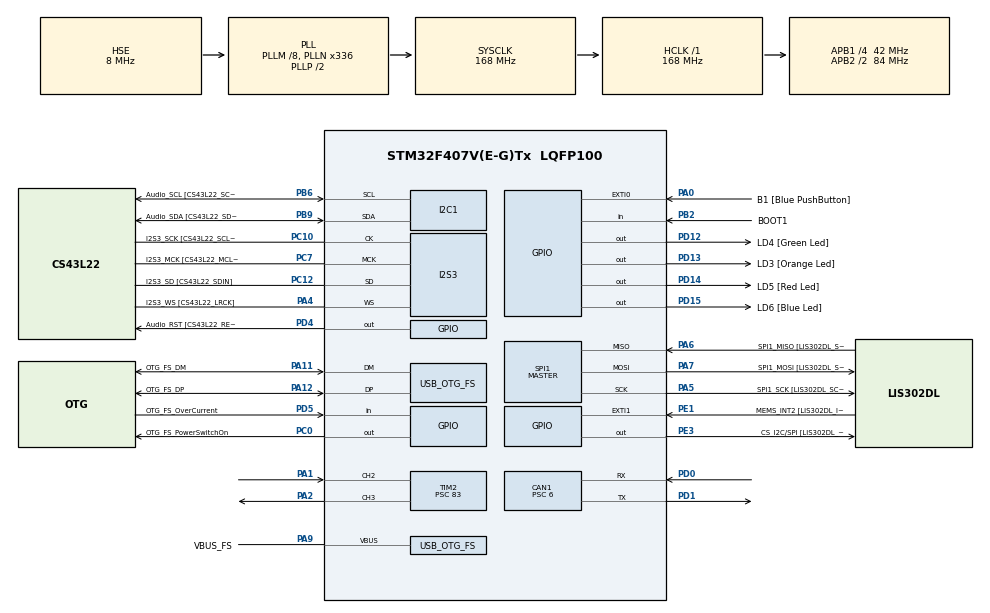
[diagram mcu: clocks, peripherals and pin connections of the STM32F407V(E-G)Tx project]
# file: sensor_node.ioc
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CAN1.BS1=CAN_BS1_11TQ
CAN1.BS2=CAN_BS2_2TQ
CAN1.CalculateBaudRate=500000
CAN1.CalculateTimeBit=2000
CAN1.CalculateTimeQuantum=142.85714285714286
CAN1.Mode=CAN_MODE_NORMAL
CAN1.NART=ENABLE
CAN1.Prescaler=6
I2S3.AudioFreq-Half_Duplex_Master=I2S_AUDIOFREQ_96K
I2S3.ErrorAudioFreq=-2.34 %
I2S3.ErrorAudioFreq-Half_Duplex_Master=0.8 %
I2S3.FullDuplexMode=I2S_FULLDUPLEXMODE_DISABLE
I2S3.Instance=SPI$Index
I2S3.RealAudioFreq=93.75 KHz
I2S3.RealAudioFreq-Half_Duplex_Master=96.774 KHz
I2S3.VirtualMode=I2S_MODE_MASTER
Mcu.Family=STM32F4
Mcu.Name=STM32F407V(E-G)Tx
Mcu.Package=LQFP100
NVIC.CAN1_RX0_IRQn=true\:0\:0\:false\:false\:true\:true\:true\:true
NVIC.OTG_FS_IRQn=true\:0\:0\:false\:false\:true\:true\:true\:true
NVIC.PriorityGroup=NVIC_PRIORITYGROUP_0
NVIC.TIM2_IRQn=true\:0\:0\:false\:false\:true\:true\:true\:true
PA0-WKUP.GPIO_Label=B1 [Blue PushButton]
PA0-WKUP.GPIO_ModeDefaultEXTI=GPIO_MODE_EVT_RISING
PA0-WKUP.GPIO_PuPd=GPIO_NOPULL
PA0-WKUP.Signal=GPXTI0
PA1.Signal=S_TIM2_CH2
PA10.GPIO_Label=OTG_FS_ID
PA10.GPIO_Mode=GPIO_MODE_AF_PP
PA10.GPIO_PuPd=GPIO_NOPULL
PA10.GPIO_Speed=GPIO_SPEED_FREQ_LOW
PA10.Signal=USB_OTG_FS_ID
PA11.GPIO_Label=OTG_FS_DM
PA11.GPIO_Mode=GPIO_MODE_AF_PP
PA11.GPIO_PuPd=GPIO_NOPULL
PA11.GPIO_Speed=GPIO_SPEED_FREQ_LOW
PA11.Mode=Host_Only
PA11.Signal=USB_OTG_FS_DM
PA12.GPIO_Label=OTG_FS_DP
PA12.GPIO_Mode=GPIO_MODE_AF_PP
PA12.GPIO_PuPd=GPIO_NOPULL
PA12.GPIO_Speed=GPIO_SPEED_FREQ_LOW
PA12.Mode=Host_Only
PA12.Signal=USB_OTG_FS_DP
PA13.GPIO_Label=SWDIO
PA13.Mode=Trace_Asynchronous_SW
PA13.Signal=SYS_JTMS-SWDIO
PA14.GPIO_Label=SWCLK
PA14.Mode=Trace_Asynchronous_SW
PA14.Signal=SYS_JTCK-SWCLK
PA2.Signal=S_TIM2_CH3
PA4.GPIO_Label=I2S3_WS [CS43L22_LRCK]
PA4.GPIO_Mode=GPIO_MODE_AF_PP
PA4.GPIO_PuPd=GPIO_NOPULL
PA4.GPIO_Speed=GPIO_SPEED_FREQ_LOW
PA4.Mode=Half_Duplex_Master
PA4.Signal=I2S3_WS
PA5.GPIO_Label=SPI1_SCK [LIS302DL_SCL/SPC]
PA5.GPIO_Mode=GPIO_MODE_AF_PP
PA5.GPIO_PuPd=GPIO_NOPULL
PA5.GPIO_Speed=GPIO_SPEED_FREQ_LOW
PA5.Mode=Full_Duplex_Master
PA5.Signal=SPI1_SCK
PA6.GPIO_Label=SPI1_MISO [LIS302DL_SDO]
PA6.GPIO_Mode=GPIO_MODE_AF_PP
PA6.GPIO_PuPd=GPIO_NOPULL
PA6.GPIO_Speed=GPIO_SPEED_FREQ_LOW
PA6.Mode=Full_Duplex_Master
PA6.Signal=SPI1_MISO
PA7.GPIO_Label=SPI1_MOSI [LIS302DL_SDA/SDI/SDO]
PA7.GPIO_Mode=GPIO_MODE_AF_PP
PA7.GPIO_PuPd=GPIO_NOPULL
PA7.GPIO_Speed=GPIO_SPEED_FREQ_LOW
PA7.Mode=Full_Duplex_Master
PA7.Signal=SPI1_MOSI
PA9.GPIO_Label=VBUS_FS
PA9.GPIO_Mode=GPIO_MODE_INPUT
PA9.GPIO_PuPd=GPIO_NOPULL
PA9.Mode=Activate_VBUS
PA9.Signal=USB_OTG_FS_VBUS
PB10.GPIO_Label=CLK_IN [MP45DT02_CLK]
PB10.GPIO_Mode=GPIO_MODE_AF_PP
PB10.GPIO_PuPd=GPIO_NOPULL
PB10.GPIO_Speed=GPIO_SPEED_FREQ_LOW
PB10.Signal=I2S2_CK
PB2.GPIO_Label=BOOT1
PB2.GPIO_Mode=GPIO_MODE_INPUT
PB2.GPIO_PuPd=GPIO_NOPULL
PB2.Signal=GPIO_Input
PB3.GPIO_Label=SWO
PB3.Mode=Trace_Asynchronous_SW
PB3.Signal=SYS_JTDO-SWO
PB6.GPIO_Label=Audio_SCL [CS43L22_SCL]
PB6.GPIO_Mode=GPIO_MODE_AF_OD
PB6.GPIO_Pu=GPIO_PULLUP
PB6.GPIO_PuPd=GPIO_NOPULL
PB6.GPIO_Speed=GPIO_SPEED_FREQ_LOW
PB6.Mode=I2C
PB6.Signal=I2C1_SCL
PB9.GPIO_Label=Audio_SDA [CS43L22_SDA]
PB9.GPIO_Mode=GPIO_MODE_AF_OD
PB9.GPIO_Pu=GPIO_PULLUP
PB9.GPIO_PuPd=GPIO_NOPULL
PB9.GPIO_Speed=GPIO_SPEED_FREQ_LOW
PB9.Mode=I2C
PB9.Signal=I2C1_SDA
PC0.GPIO_Label=OTG_FS_PowerSwitchOn
PC0.GPIO_PuPd=GPIO_NOPULL
PC0.GPIO_Speed=GPIO_SPEED_FREQ_LOW
PC0.PinState=GPIO_PIN_SET
PC0.Signal=GPIO_Output
PC10.GPIO_Label=I2S3_SCK [CS43L22_SCLK]
PC10.GPIO_Mode=GPIO_MODE_AF_PP
PC10.GPIO_PuPd=GPIO_NOPULL
PC10.GPIO_Speed=GPIO_SPEED_FREQ_LOW
PC10.Mode=Half_Duplex_Master
PC10.Signal=I2S3_CK
PC12.GPIO_Label=I2S3_SD [CS43L22_SDIN]
PC12.GPIO_Mode=GPIO_MODE_AF_PP
PC12.GPIO_PuPd=GPIO_NOPULL
PC12.GPIO_Speed=GPIO_SPEED_FREQ_LOW
PC12.Mode=Half_Duplex_Master
PC12.Signal=I2S3_SD
PC14-OSC32_IN.GPIO_Label=PC14-OSC32_IN
PC14-OSC32_IN.Mode=LSE-External-Oscillator
PC14-OSC32_IN.Signal=RCC_OSC32_IN
PC15-OSC32_OUT.GPIO_Label=PC15-OSC32_OUT
PC15-OSC32_OUT.Mode=LSE-External-Oscillator
PC15-OSC32_OUT.Signal=RCC_OSC32_OUT
PC3.GPIO_Label=PDM_OUT [MP45DT02_DOUT]
PC3.GPIO_Mode=GPIO_MODE_AF_PP
PC3.GPIO_PuPd=GPIO_NOPULL
PC3.GPIO_Speed=GPIO_SPEED_FREQ_LOW
PC3.Signal=I2S2_SD
PC7.GPIO_Label=I2S3_MCK [CS43L22_MCLK]
PC7.GPIO_Mode=GPIO_MODE_AF_PP
PC7.GPIO_PuPd=GPIO_NOPULL
PC7.GPIO_Speed=GPIO_SPEED_FREQ_LOW
PC7.Mode=Master_Clock_Activated
PC7.Signal=I2S3_MCK
PD0.GPIO_PuPd=GPIO_PULLUP
PD0.Mode=CAN_Activate
PD0.Signal=CAN1_RX
PD1.Mode=CAN_Activate
PD1.Signal=CAN1_TX
PD12.GPIO_Label=LD4 [Green Led]
PD12.GPIO_PuPd=GPIO_NOPULL
PD12.GPIO_Speed=GPIO_SPEED_FREQ_LOW
PD12.Signal=GPIO_Output
PD13.GPIO_Label=LD3 [Orange Led]
PD13.GPIO_PuPd=GPIO_NOPULL
PD13.GPIO_Speed=GPIO_SPEED_FREQ_LOW
PD13.Signal=GPIO_Output
PD14.GPIO_Label=LD5 [Red Led]
PD14.GPIO_PuPd=GPIO_NOPULL
PD14.GPIO_Speed=GPIO_SPEED_FREQ_LOW
PD14.Signal=GPIO_Output
PD15.GPIO_Label=LD6 [Blue Led]
PD15.GPIO_PuPd=GPIO_NOPULL
PD15.GPIO_Speed=GPIO_SPEED_FREQ_LOW
PD15.Signal=GPIO_Output
PD4.GPIO_Label=Audio_RST [CS43L22_RESET]
PD4.GPIO_PuPd=GPIO_NOPULL
PD4.GPIO_Speed=GPIO_SPEED_FREQ_LOW
PD4.Signal=GPIO_Output
PD5.GPIO_Label=OTG_FS_OverCurrent
PD5.GPIO_Mode=GPIO_MODE_INPUT
PD5.GPIO_PuPd=GPIO_NOPULL
PD5.Signal=GPIO_Input
PE1.GPIO_Label=MEMS_INT2 [LIS302DL_INT2]
PE1.GPIO_ModeDefaultEXTI=GPIO_MODE_EVT_RISING
PE1.GPIO_PuPd=GPIO_NOPULL
PE1.Signal=GPXTI1
PE3.GPIO_Label=CS_I2C/SPI [LIS302DL_CS_I2C/SPI]
PE3.GPIO_PuPd=GPIO_NOPULL
PE3.GPIO_Speed=GPIO_SPEED_FREQ_LOW
PE3.Signal=GPIO_Output
PH0-OSC_IN.GPIO_Label=PH0-OSC_IN
PH0-OSC_IN.Mode=HSE-External-Oscillator
PH0-OSC_IN.Signal=RCC_OSC_IN
PH1-OSC_OUT.GPIO_Label=PH1-OSC_OUT
PH1-OSC_OUT.Mode=HSE-External-Oscillator
PH1-OSC_OUT.Signal=RCC_OSC_OUT
ProjectManager.HeapSize=0x200
ProjectManager.StackSize=0x400
ProjectManager.TargetToolchain=STM32CubeIDE
RCC.48MHZClocksFreq_Value=48000000
RCC.AHBFreq_Value=168000000
RCC.APB1CLKDivider=RCC_HCLK_DIV4
RCC.APB1Freq_Value=42000000
RCC.APB1TimFreq_Value=84000000
RCC.APB2CLKDivider=RCC_HCLK_DIV2
RCC.APB2Freq_Value=84000000
RCC.APB2TimFreq_Value=168000000
RCC.CortexFreq_Value=168000000
RCC.HCLKFreq_Value=168000000
RCC.HSE_VALUE=8000000
RCC.HSI_VALUE=16000000
RCC.PLLM=8
RCC.PLLN=336
RCC.PLLQ=7
RCC.SYSCLKFreq_VALUE=168000000
RCC.SYSCLKSource=RCC_SYSCLKSOURCE_PLLCLK
RCC.VCOOutputFreq_Value=336000000
SH.S_TIM2_CH2.0=TIM2_CH2,Input_Capture2_from_TI2
SH.S_TIM2_CH3.0=TIM2_CH3,PWM Generation3 CH3
SPI1.BaudRatePrescaler-Full_Duplex_Master=SPI_BAUDRATEPRESCALER_2
SPI1.CalculateBaudRate-Full_Duplex_Master=42.0 MBits/s
SPI1.Direction=SPI_DIRECTION_2LINES
SPI1.Mode=SPI_MODE_MASTER
SPI1.Mode-Full_Duplex_Master=SPI_MODE_MASTER
SPI1.VirtualType=VM_MASTER
TIM2.Channel-Input_Capture2_from_TI2=TIM_CHANNEL_2
TIM2.Channel-PWM\ Generation3\ CH3=TIM_CHANNEL_3
TIM2.ICPolarity_CH2=TIM_INPUTCHANNELPOLARITY_BOTHEDGE
TIM2.Period=59999
TIM2.Prescaler=83
TIM2.Pulse-PWM\ Generation3\ CH3=10
USB_HOST.BSP.number=1
USB_HOST.USBH_HandleTypeDef-CDC_FS=hUsbHostFS
USB_HOST.VirtualModeFS=Cdc
USB_HOST0.BSP.STBoard=false
USB_HOST0.BSP.api=Unknown
USB_HOST0.BSP.instance=PC0
USB_HOST0.BSP.ip=GPIO
USB_HOST0.BSP.mode=Output
USB_HOST0.BSP.name=Drive_VBUS_FS
USB_HOST0.BSP.solution=PC0
USB_OTG_FS.VirtualMode=Host_Only
USB_OTG_FS.phy_itface=HCD_PHY_EMBEDDED
VP_TIM2_VS_ClockSourceINT.Mode=Internal
VP_USB_HOST_VS_USB_HOST_CDC_FS.Mode=CDC_FS
board=STM32F407G-DISC1

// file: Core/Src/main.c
/* USER CODE BEGIN Header */
/**
  ******************************************************************************
  * @file           : main.c
  * @brief          : Main program body
  ******************************************************************************
  * @attention
  *
  * Copyright (c) 2026 STMicroelectronics.
  * All rights reserved.
  *
  * This software is licensed under terms that can be found in the LICENSE file
  * in the root directory of this software component.
  * If no LICENSE file comes with this software, it is provided AS-IS.
  *
  ******************************************************************************
  */
/* USER CODE END Header */
#include "main.h"
#include "usb_host.h"

/* USER CODE BEGIN Includes */
#include <stdio.h>
/* USER CODE END Includes */

/* USER CODE BEGIN PD */
#define CAN_ID_PA_DISTANCE   0x200
#define CAN_DLC_PA_DISTANCE  4
/* USER CODE END PD */

CAN_HandleTypeDef hcan1;

I2C_HandleTypeDef hi2c1;

I2S_HandleTypeDef hi2s3;

SPI_HandleTypeDef hspi1;

TIM_HandleTypeDef htim2;

/* USER CODE BEGIN PV */
CAN_TxHeaderTypeDef txHeader;
CAN_RxHeaderTypeDef rxHeader;
uint8_t  txData[8];
uint8_t  rxData[8];
uint32_t txMailbox;
volatile uint32_t rxCount = 0;
volatile uint32_t echoRise = 0;
volatile uint32_t echoWidthUs = 0;
volatile uint8_t  newMeasurement = 0;
uint8_t aliveCounter = 0;
volatile uint16_t rxDistMm = 0;
volatile uint8_t  rxStatus = 0;
volatile uint8_t  rxAlive = 0;
/* USER CODE END PV */

void SystemClock_Config(void);
static void MX_GPIO_Init(void);
static void MX_CAN1_Init(void);
static void MX_I2C1_Init(void);
static void MX_I2S3_Init(void);
static void MX_SPI1_Init(void);
static void MX_TIM2_Init(void);
void MX_USB_HOST_Process(void);

/* USER CODE BEGIN 0 */
int _write(int file, char *ptr, int len)
{
  for (int i = 0; i < len; i++)
  {
    ITM_SendChar(ptr[i]);
  }
  return len;
}
/* USER CODE END 0 */

int main(void)
{

  /* MCU Configuration--------------------------------------------------------*/

  /* Reset of all peripherals, Initializes the Flash interface and the Systick. */
  HAL_Init();

  /* Configure the system clock */
  SystemClock_Config();

  /* Initialize all configured peripherals */
  MX_GPIO_Init();
  MX_CAN1_Init();
  MX_I2C1_Init();
  MX_I2S3_Init();
  MX_SPI1_Init();
  MX_USB_HOST_Init();
  MX_TIM2_Init();
  /* USER CODE BEGIN 2 */
  CAN_FilterTypeDef filter = {0};
  filter.FilterBank = 0;
  filter.FilterMode = CAN_FILTERMODE_IDMASK;
  filter.FilterScale = CAN_FILTERSCALE_32BIT;
  filter.FilterFIFOAssignment = CAN_RX_FIFO0;   /* mask 0 = accept all IDs */
  filter.FilterActivation = ENABLE;
  filter.SlaveStartFilterBank = 14;

  if (HAL_CAN_ConfigFilter(&hcan1, &filter) != HAL_OK) Error_Handler();
  if (HAL_CAN_Start(&hcan1) != HAL_OK) Error_Handler();
  if (HAL_CAN_ActivateNotification(&hcan1, CAN_IT_RX_FIFO0_MSG_PENDING) != HAL_OK) Error_Handler();

  txHeader.StdId = CAN_ID_PA_DISTANCE;
  txHeader.IDE   = CAN_ID_STD;
  txHeader.RTR   = CAN_RTR_DATA;
  txHeader.DLC   = CAN_DLC_PA_DISTANCE;
  HAL_TIM_IC_Start_IT(&htim2, TIM_CHANNEL_2);
  HAL_TIM_PWM_Start(&htim2, TIM_CHANNEL_3);
  /* USER CODE END 2 */

  /* Infinite loop */
  while (1)
  {
    MX_USB_HOST_Process();

    /* USER CODE BEGIN 3 */
    uint32_t width = echoWidthUs;
        uint16_t distMm = (uint16_t)(width * 343 / 2000);
        uint8_t  status = (width == 0 || width > 25000) ? 1 : 0;

        txData[0] = distMm & 0xFF;
        txData[1] = distMm >> 8;
        txData[2] = status;
        txData[3] = aliveCounter++;
        HAL_CAN_AddTxMessage(&hcan1, &txHeader, txData, &txMailbox);

        HAL_Delay(100);

        uint32_t esr = hcan1.Instance->ESR;
           uint8_t  lec = (esr >> 4) & 0x7;     /* last error code */
           uint8_t  tec = (esr >> 16) & 0xFF;   /* transmit error counter */

           HAL_GPIO_WritePin(GPIOD, GPIO_PIN_12, (tec == 0) ? GPIO_PIN_SET : GPIO_PIN_RESET); /* green: bus OK */
           HAL_GPIO_WritePin(GPIOD, GPIO_PIN_14, (tec > 0)  ? GPIO_PIN_SET : GPIO_PIN_RESET); /* red: transmit errors */
           HAL_GPIO_WritePin(GPIOD, GPIO_PIN_15, (lec == 3) ? GPIO_PIN_SET : GPIO_PIN_RESET); /* blue: no acknowledgement */

           printf("TX dist=%u alive=%u | TEC=%u LEC=%u\r\n", distMm, txData[3], tec, lec);
      }
  /* USER CODE END 3 */
}

void SystemClock_Config(void)
{
  RCC_OscInitTypeDef RCC_OscInitStruct = {0};
  RCC_ClkInitTypeDef RCC_ClkInitStruct = {0};

  /** Configure the main internal regulator output voltage
  */
  __HAL_RCC_PWR_CLK_ENABLE();
  __HAL_PWR_VOLTAGESCALING_CONFIG(PWR_REGULATOR_VOLTAGE_SCALE1);

  /** Initializes the RCC Oscillators according to the specified parameters
  * in the RCC_OscInitTypeDef structure.
  */
  RCC_OscInitStruct.OscillatorType = RCC_OSCILLATORTYPE_HSE;
  RCC_OscInitStruct.HSEState = RCC_HSE_ON;
  RCC_OscInitStruct.PLL.PLLState = RCC_PLL_ON;
  RCC_OscInitStruct.PLL.PLLSource = RCC_PLLSOURCE_HSE;
  RCC_OscInitStruct.PLL.PLLM = 8;
  RCC_OscInitStruct.PLL.PLLN = 336;
  RCC_OscInitStruct.PLL.PLLP = RCC_PLLP_DIV2;
  RCC_OscInitStruct.PLL.PLLQ = 7;
  if (HAL_RCC_OscConfig(&RCC_OscInitStruct) != HAL_OK)
  {
    Error_Handler();
  }

  /** Initializes the CPU, AHB and APB buses clocks
  */
  RCC_ClkInitStruct.ClockType = RCC_CLOCKTYPE_HCLK|RCC_CLOCKTYPE_SYSCLK
                              |RCC_CLOCKTYPE_PCLK1|RCC_CLOCKTYPE_PCLK2;
  RCC_ClkInitStruct.SYSCLKSource = RCC_SYSCLKSOURCE_PLLCLK;
  RCC_ClkInitStruct.AHBCLKDivider = RCC_SYSCLK_DIV1;
  RCC_ClkInitStruct.APB1CLKDivider = RCC_HCLK_DIV4;
  RCC_ClkInitStruct.APB2CLKDivider = RCC_HCLK_DIV2;

  if (HAL_RCC_ClockConfig(&RCC_ClkInitStruct, FLASH_LATENCY_5) != HAL_OK)
  {
    Error_Handler();
  }
}

static void MX_CAN1_Init(void)
{

  hcan1.Instance = CAN1;
  hcan1.Init.Prescaler = 6;
  hcan1.Init.Mode = CAN_MODE_NORMAL;
  hcan1.Init.SyncJumpWidth = CAN_SJW_1TQ;
  hcan1.Init.TimeSeg1 = CAN_BS1_11TQ;
  hcan1.Init.TimeSeg2 = CAN_BS2_2TQ;
  hcan1.Init.TimeTriggeredMode = DISABLE;
  hcan1.Init.AutoBusOff = DISABLE;
  hcan1.Init.AutoWakeUp = DISABLE;
  hcan1.Init.AutoRetransmission = ENABLE;
  hcan1.Init.ReceiveFifoLocked = DISABLE;
  hcan1.Init.TransmitFifoPriority = DISABLE;
  if (HAL_CAN_Init(&hcan1) != HAL_OK)
  {
    Error_Handler();
  }

}

static void MX_I2C1_Init(void)
{

  hi2c1.Instance = I2C1;
  hi2c1.Init.ClockSpeed = 100000;
  hi2c1.Init.DutyCycle = I2C_DUTYCYCLE_2;
  hi2c1.Init.OwnAddress1 = 0;
  hi2c1.Init.AddressingMode = I2C_ADDRESSINGMODE_7BIT;
  hi2c1.Init.DualAddressMode = I2C_DUALADDRESS_DISABLE;
  hi2c1.Init.OwnAddress2 = 0;
  hi2c1.Init.GeneralCallMode = I2C_GENERALCALL_DISABLE;
  hi2c1.Init.NoStretchMode = I2C_NOSTRETCH_DISABLE;
  if (HAL_I2C_Init(&hi2c1) != HAL_OK)
  {
    Error_Handler();
  }

}

static void MX_I2S3_Init(void)
{

  hi2s3.Instance = SPI3;
  hi2s3.Init.Mode = I2S_MODE_MASTER_TX;
  hi2s3.Init.Standard = I2S_STANDARD_PHILIPS;
  hi2s3.Init.DataFormat = I2S_DATAFORMAT_16B;
  hi2s3.Init.MCLKOutput = I2S_MCLKOUTPUT_ENABLE;
  hi2s3.Init.AudioFreq = I2S_AUDIOFREQ_96K;
  hi2s3.Init.CPOL = I2S_CPOL_LOW;
  hi2s3.Init.ClockSource = I2S_CLOCK_PLL;
  hi2s3.Init.FullDuplexMode = I2S_FULLDUPLEXMODE_DISABLE;
  if (HAL_I2S_Init(&hi2s3) != HAL_OK)
  {
    Error_Handler();
  }

}

static void MX_SPI1_Init(void)
{

  /* SPI1 parameter configuration*/
  hspi1.Instance = SPI1;
  hspi1.Init.Mode = SPI_MODE_MASTER;
  hspi1.Init.Direction = SPI_DIRECTION_2LINES;
  hspi1.Init.DataSize = SPI_DATASIZE_8BIT;
  hspi1.Init.CLKPolarity = SPI_POLARITY_LOW;
  hspi1.Init.CLKPhase = SPI_PHASE_1EDGE;
  hspi1.Init.NSS = SPI_NSS_SOFT;
  hspi1.Init.BaudRatePrescaler = SPI_BAUDRATEPRESCALER_2;
  hspi1.Init.FirstBit = SPI_FIRSTBIT_MSB;
  hspi1.Init.TIMode = SPI_TIMODE_DISABLE;
  hspi1.Init.CRCCalculation = SPI_CRCCALCULATION_DISABLE;
  hspi1.Init.CRCPolynomial = 10;
  if (HAL_SPI_Init(&hspi1) != HAL_OK)
  {
    Error_Handler();
  }

}

static void MX_TIM2_Init(void)
{

  TIM_ClockConfigTypeDef sClockSourceConfig = {0};
  TIM_MasterConfigTypeDef sMasterConfig = {0};
  TIM_IC_InitTypeDef sConfigIC = {0};
  TIM_OC_InitTypeDef sConfigOC = {0};

  htim2.Instance = TIM2;
  htim2.Init.Prescaler = 83;
  htim2.Init.CounterMode = TIM_COUNTERMODE_UP;
  htim2.Init.Period = 59999;
  htim2.Init.ClockDivision = TIM_CLOCKDIVISION_DIV1;
  htim2.Init.AutoReloadPreload = TIM_AUTORELOAD_PRELOAD_DISABLE;
  if (HAL_TIM_Base_Init(&htim2) != HAL_OK)
  {
    Error_Handler();
  }
  sClockSourceConfig.ClockSource = TIM_CLOCKSOURCE_INTERNAL;
  if (HAL_TIM_ConfigClockSource(&htim2, &sClockSourceConfig) != HAL_OK)
  {
    Error_Handler();
  }
  if (HAL_TIM_IC_Init(&htim2) != HAL_OK)
  {
    Error_Handler();
  }
  if (HAL_TIM_PWM_Init(&htim2) != HAL_OK)
  {
    Error_Handler();
  }
  sMasterConfig.MasterOutputTrigger = TIM_TRGO_RESET;
  sMasterConfig.MasterSlaveMode = TIM_MASTERSLAVEMODE_DISABLE;
  if (HAL_TIMEx_MasterConfigSynchronization(&htim2, &sMasterConfig) != HAL_OK)
  {
    Error_Handler();
  }
  sConfigIC.ICPolarity = TIM_INPUTCHANNELPOLARITY_BOTHEDGE;
  sConfigIC.ICSelection = TIM_ICSELECTION_DIRECTTI;
  sConfigIC.ICPrescaler = TIM_ICPSC_DIV1;
  sConfigIC.ICFilter = 0;
  if (HAL_TIM_IC_ConfigChannel(&htim2, &sConfigIC, TIM_CHANNEL_2) != HAL_OK)
  {
    Error_Handler();
  }
  sConfigOC.OCMode = TIM_OCMODE_PWM1;
  sConfigOC.Pulse = 10;
  sConfigOC.OCPolarity = TIM_OCPOLARITY_HIGH;
  sConfigOC.OCFastMode = TIM_OCFAST_DISABLE;
  if (HAL_TIM_PWM_ConfigChannel(&htim2, &sConfigOC, TIM_CHANNEL_3) != HAL_OK)
  {
    Error_Handler();
  }
  HAL_TIM_MspPostInit(&htim2);

}

static void MX_GPIO_Init(void)
{
  GPIO_InitTypeDef GPIO_InitStruct = {0};

  /* GPIO Ports Clock Enable */
  __HAL_RCC_GPIOE_CLK_ENABLE();
  __HAL_RCC_GPIOC_CLK_ENABLE();
  __HAL_RCC_GPIOH_CLK_ENABLE();
  __HAL_RCC_GPIOA_CLK_ENABLE();
  __HAL_RCC_GPIOB_CLK_ENABLE();
  __HAL_RCC_GPIOD_CLK_ENABLE();

  /*Configure GPIO pin Output Level */
  HAL_GPIO_WritePin(CS_I2C_SPI_GPIO_Port, CS_I2C_SPI_Pin, GPIO_PIN_RESET);

  /*Configure GPIO pin Output Level */
  HAL_GPIO_WritePin(OTG_FS_PowerSwitchOn_GPIO_Port, OTG_FS_PowerSwitchOn_Pin, GPIO_PIN_SET);

  /*Configure GPIO pin Output Level */
  HAL_GPIO_WritePin(GPIOD, LD4_Pin|LD3_Pin|LD5_Pin|LD6_Pin
                          |Audio_RST_Pin, GPIO_PIN_RESET);

  /*Configure GPIO pin : CS_I2C_SPI_Pin */
  GPIO_InitStruct.Pin = CS_I2C_SPI_Pin;
  GPIO_InitStruct.Mode = GPIO_MODE_OUTPUT_PP;
  GPIO_InitStruct.Pull = GPIO_NOPULL;
  GPIO_InitStruct.Speed = GPIO_SPEED_FREQ_LOW;
  HAL_GPIO_Init(CS_I2C_SPI_GPIO_Port, &GPIO_InitStruct);

  /*Configure GPIO pin : OTG_FS_PowerSwitchOn_Pin */
  GPIO_InitStruct.Pin = OTG_FS_PowerSwitchOn_Pin;
  GPIO_InitStruct.Mode = GPIO_MODE_OUTPUT_PP;
  GPIO_InitStruct.Pull = GPIO_NOPULL;
  GPIO_InitStruct.Speed = GPIO_SPEED_FREQ_LOW;
  HAL_GPIO_Init(OTG_FS_PowerSwitchOn_GPIO_Port, &GPIO_InitStruct);

  /*Configure GPIO pin : PDM_OUT_Pin */
  GPIO_InitStruct.Pin = PDM_OUT_Pin;
  GPIO_InitStruct.Mode = GPIO_MODE_AF_PP;
  GPIO_InitStruct.Pull = GPIO_NOPULL;
  GPIO_InitStruct.Speed = GPIO_SPEED_FREQ_LOW;
  GPIO_InitStruct.Alternate = GPIO_AF5_SPI2;
  HAL_GPIO_Init(PDM_OUT_GPIO_Port, &GPIO_InitStruct);

  /*Configure GPIO pin : B1_Pin */
  GPIO_InitStruct.Pin = B1_Pin;
  GPIO_InitStruct.Mode = GPIO_MODE_EVT_RISING;
  GPIO_InitStruct.Pull = GPIO_NOPULL;
  HAL_GPIO_Init(B1_GPIO_Port, &GPIO_InitStruct);

  /*Configure GPIO pin : BOOT1_Pin */
  GPIO_InitStruct.Pin = BOOT1_Pin;
  GPIO_InitStruct.Mode = GPIO_MODE_INPUT;
  GPIO_InitStruct.Pull = GPIO_NOPULL;
  HAL_GPIO_Init(BOOT1_GPIO_Port, &GPIO_InitStruct);

  /*Configure GPIO pin : CLK_IN_Pin */
  GPIO_InitStruct.Pin = CLK_IN_Pin;
  GPIO_InitStruct.Mode = GPIO_MODE_AF_PP;
  GPIO_InitStruct.Pull = GPIO_NOPULL;
  GPIO_InitStruct.Speed = GPIO_SPEED_FREQ_LOW;
  GPIO_InitStruct.Alternate = GPIO_AF5_SPI2;
  HAL_GPIO_Init(CLK_IN_GPIO_Port, &GPIO_InitStruct);

  /*Configure GPIO pins : LD4_Pin LD3_Pin LD5_Pin LD6_Pin
                           Audio_RST_Pin */
  GPIO_InitStruct.Pin = LD4_Pin|LD3_Pin|LD5_Pin|LD6_Pin
                          |Audio_RST_Pin;
  GPIO_InitStruct.Mode = GPIO_MODE_OUTPUT_PP;
  GPIO_InitStruct.Pull = GPIO_NOPULL;
  GPIO_InitStruct.Speed = GPIO_SPEED_FREQ_LOW;
  HAL_GPIO_Init(GPIOD, &GPIO_InitStruct);

  /*Configure GPIO pin : OTG_FS_OverCurrent_Pin */
  GPIO_InitStruct.Pin = OTG_FS_OverCurrent_Pin;
  GPIO_InitStruct.Mode = GPIO_MODE_INPUT;
  GPIO_InitStruct.Pull = GPIO_NOPULL;
  HAL_GPIO_Init(OTG_FS_OverCurrent_GPIO_Port, &GPIO_InitStruct);

  /*Configure GPIO pin : MEMS_INT2_Pin */
  GPIO_InitStruct.Pin = MEMS_INT2_Pin;
  GPIO_InitStruct.Mode = GPIO_MODE_EVT_RISING;
  GPIO_InitStruct.Pull = GPIO_NOPULL;
  HAL_GPIO_Init(MEMS_INT2_GPIO_Port, &GPIO_InitStruct);

}

/* USER CODE BEGIN 4 */
void HAL_CAN_RxFifo0MsgPendingCallback(CAN_HandleTypeDef *hcan)
{
	if (HAL_CAN_GetRxMessage(hcan, CAN_RX_FIFO0, &rxHeader, rxData) == HAL_OK)
	{
		if (rxHeader.StdId == CAN_ID_PA_DISTANCE && rxHeader.DLC == CAN_DLC_PA_DISTANCE)
		{
			rxDistMm = rxData[0] | (rxData[1] << 8);
			rxStatus = rxData[2];
			rxAlive  = rxData[3];
			rxCount++;
			HAL_GPIO_TogglePin(GPIOD, GPIO_PIN_13);
		}
	}
}

void HAL_TIM_IC_CaptureCallback(TIM_HandleTypeDef *htim)
{
  if (htim->Instance == TIM2 && htim->Channel == HAL_TIM_ACTIVE_CHANNEL_2)
  {
    uint32_t t = HAL_TIM_ReadCapturedValue(htim, TIM_CHANNEL_2);

    if (HAL_GPIO_ReadPin(GPIOA, GPIO_PIN_1) == GPIO_PIN_SET)
    {
      echoRise = t;
    }
    else
    {
      uint32_t period = __HAL_TIM_GET_AUTORELOAD(htim) + 1;
      echoWidthUs = (t + period - echoRise) % period;
      newMeasurement = 1;
    }
  }
}
/* USER CODE END 4 */

void Error_Handler(void)
{
  __disable_irq();
  while (1)
  {
  }
}
